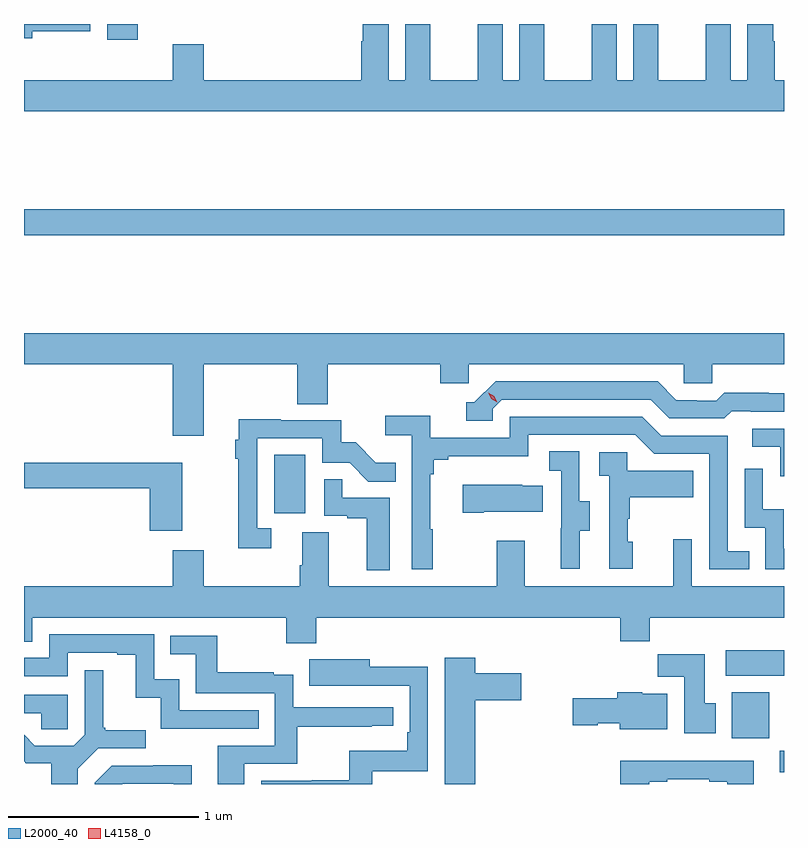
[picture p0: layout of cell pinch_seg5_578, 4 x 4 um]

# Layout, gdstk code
import gdstk
lib = gdstk.Library(unit=1e-6, precision=1e-09)
def R(c, l, rs):  # rectangles x0, y0, x1, y1
    for r in rs: c.add(gdstk.rectangle(r[:2], r[2:], *l))
def P(c, l, *ps):  # polygons
    for p in ps: c.add(gdstk.Polygon(p, *l))
L2000_40 = (2000, 40)
L4158_0 = (4158, 0)

pinch_seg5_578 = lib.new_cell('pinch_seg5_578')
R(pinch_seg5_578, L2000_40, [(1139.231,855.945,1139.253,856.058), (1138.979,856.124,1139.176,856.366), (1138.947,856.454,1139.253,856.588), (1136.57,857.31,1136.734,857.617), (1135.253,858.772,1139.253,858.908), (1135.691,859.8,1135.852,859.884)])
P(pinch_seg5_578, L2000_40, [(1139.253,859.588),(1139.204,859.588),(1139.204,859.793),(1139.197,859.793),(1139.197,859.884),(1139.06,859.884),(1139.06,859.588),(1138.972,859.588),(1138.972,859.884),(1138.841,859.884),(1138.841,859.588),(1138.591,859.588),(1138.591,859.884),(1138.46,859.884),(1138.46,859.588),(1138.372,859.588),(1138.372,859.884),(1138.241,859.884),(1138.241,859.588),(1137.991,859.588),(1137.991,859.884),(1137.86,859.884),(1137.86,859.588),(1137.772,859.588),(1137.772,859.884),(1137.641,859.884),(1137.641,859.588),(1137.391,859.588),(1137.391,859.884),(1137.26,859.884),(1137.26,859.588),(1137.172,859.588),(1137.172,859.884),(1137.035,859.884),(1137.035,859.793),(1137.029,859.793),(1137.029,859.588),(1136.2,859.588),(1136.2,859.777),(1136.036,859.777),(1136.036,859.588),(1135.253,859.588),(1135.253,859.424),(1139.253,859.424)],
  [(1135.297,859.846),(1135.602,859.846),(1135.602,859.884),(1135.253,859.884),(1135.253,859.808),(1135.297,859.808)],
  [(1136.2,858.092),(1136.692,858.092),(1136.692,857.884),(1136.852,857.884),(1136.852,858.092),(1137.443,858.092),(1137.443,857.994),(1137.594,857.994),(1137.594,858.092),(1138.725,858.092),(1138.725,857.994),(1138.875,857.994),(1138.875,858.092),(1139.253,858.092),(1139.253,858.256),(1135.253,858.256),(1135.253,858.092),(1136.036,858.092),(1136.036,857.718),(1136.2,857.718)],
  [(1137.72,857.859),(1137.768,857.907),(1138.551,857.907),(1138.65,857.808),(1138.939,857.808),(1138.978,857.847),(1139.077,857.847),(1139.077,857.844),(1139.253,857.844),(1139.253,857.941),(1139.172,857.941),(1139.172,857.944),(1138.939,857.944),(1138.897,857.901),(1138.794,857.901),(1138.794,857.904),(1138.687,857.904),(1138.588,858.003),(1137.735,858.003),(1137.624,857.892),(1137.581,857.892),(1137.581,857.796),(1137.72,857.796)],
  [(1137.403,857.225),(1137.391,857.225),(1137.391,857.513),(1137.41,857.513),(1137.41,857.59),(1137.487,857.59),(1137.487,857.609),(1137.906,857.609),(1137.906,857.721),(1138.47,857.721),(1138.569,857.622),(1138.86,857.622),(1138.86,857.013),(1139.069,857.013),(1139.069,857.109),(1138.956,857.109),(1138.956,857.718),(1138.606,857.718),(1138.507,857.817),(1137.81,857.817),(1137.81,857.706),(1137.392,857.706),(1137.392,857.822),(1137.153,857.822),(1137.153,857.72),(1137.294,857.72),(1137.294,857.013),(1137.403,857.013)],
  [(1136.554,857.229),(1136.481,857.229),(1136.481,857.703),(1136.823,857.703),(1136.823,857.574),(1136.968,857.574),(1137.066,857.476),(1137.209,857.476),(1137.209,857.575),(1137.105,857.575),(1136.998,857.682),(1136.922,857.682),(1136.922,857.799),(1136.603,857.799),(1136.603,857.804),(1136.384,857.804),(1136.384,857.696),(1136.365,857.696),(1136.365,857.596),(1136.38,857.596),(1136.38,857.124),(1136.554,857.124)],
  [(1139.253,857.754),(1139.085,857.754),(1139.085,857.658),(1139.232,857.658),(1139.232,857.505),(1139.253,857.505)],
  [(1138.177,857.218),(1138.231,857.218),(1138.231,857.373),(1138.176,857.373),(1138.176,857.636),(1138.017,857.636),(1138.017,857.533),(1138.08,857.533),(1138.08,857.229),(1138.079,857.229),(1138.079,857.016),(1138.177,857.016)],
  [(1138.456,857.16),(1138.431,857.16),(1138.431,857.279),(1138.441,857.279),(1138.441,857.393),(1138.775,857.393),(1138.775,857.533),(1138.428,857.533),(1138.428,857.631),(1138.281,857.631),(1138.281,857.507),(1138.332,857.507),(1138.332,857.016),(1138.456,857.016)],
  [(1136.086,857.576),(1135.253,857.576),(1135.253,857.44),(1135.916,857.44),(1135.916,857.217),(1136.086,857.217)],
  [(1139.253,857.122),(1139.252,857.122),(1139.252,857.33),(1139.142,857.33),(1139.142,857.542),(1139.046,857.542),(1139.046,857.232),(1139.154,857.232),(1139.154,857.013),(1139.253,857.013)],
  [(1137.178,857.391),(1136.927,857.391),(1136.927,857.489),(1136.832,857.489),(1136.832,857.295),(1136.953,857.295),(1136.953,857.283),(1137.056,857.283),(1137.056,857.009),(1137.178,857.009)],
  [(1137.673,857.318),(1137.983,857.318),(1137.983,857.455),(1137.875,857.455),(1137.875,857.458),(1137.561,857.458),(1137.561,857.311),(1137.673,857.311)],
  [(1136.792,856.76),(1138.391,856.76),(1138.391,856.636),(1138.547,856.636),(1138.547,856.76),(1139.253,856.76),(1139.253,856.924),(1138.767,856.924),(1138.767,857.173),(1138.67,857.173),(1138.67,856.924),(1137.889,856.924),(1137.889,857.164),(1137.742,857.164),(1137.742,856.924),(1136.857,856.924),(1136.857,857.21),(1136.717,857.21),(1136.717,857.036),(1136.705,857.036),(1136.705,856.924),(1136.2,856.924),(1136.2,857.113),(1136.036,857.113),(1136.036,856.924),(1135.253,856.924),(1135.253,856.633),(1135.296,856.633),(1135.296,856.76),(1136.632,856.76),(1136.632,856.625),(1136.792,856.625)],
  [(1136.489,856.272),(1136.07,856.272),(1136.07,856.435),(1135.938,856.435),(1135.938,856.671),(1135.386,856.671),(1135.386,856.548),(1135.253,856.548),(1135.253,856.452),(1135.482,856.452),(1135.482,856.575),(1135.745,856.575),(1135.745,856.563),(1135.841,856.563),(1135.841,856.337),(1135.974,856.337),(1135.974,856.176),(1136.489,856.176)],
  [(1136.413,855.99),(1136.69,855.99),(1136.69,856.186),(1137.083,856.186),(1137.083,856.191),(1137.196,856.191),(1137.196,856.287),(1136.67,856.287),(1136.67,856.459),(1136.567,856.459),(1136.567,856.471),(1136.269,856.471),(1136.269,856.665),(1136.023,856.665),(1136.023,856.568),(1136.158,856.568),(1136.158,856.362),(1136.574,856.362),(1136.574,856.086),(1136.273,856.086),(1136.273,855.884),(1136.413,855.884)],
  [(1138.894,856.308),(1138.837,856.308),(1138.837,856.567),(1138.588,856.567),(1138.588,856.448),(1138.727,856.448),(1138.727,856.152),(1138.894,856.152)],
  [(1137.628,856.325),(1137.871,856.325),(1137.871,856.467),(1137.628,856.467),(1137.628,856.549),(1137.467,856.549),(1137.467,855.884),(1137.628,855.884)],
  [(1137.085,855.951),(1137.378,855.951),(1137.378,856.502),(1137.073,856.502),(1137.073,856.54),(1136.755,856.54),(1136.755,856.4),(1136.969,856.4),(1136.969,856.401),(1137.282,856.401),(1137.282,856.156),(1137.269,856.156),(1137.269,856.06),(1136.964,856.06),(1136.964,855.905),(1136.767,855.905),(1136.767,855.9),(1136.502,855.9),(1136.502,855.884),(1137.085,855.884)],
  [(1135.537,855.964),(1135.644,856.071),(1135.894,856.071),(1135.894,856.168),(1135.681,856.168),(1135.681,856.18),(1135.669,856.18),(1135.669,856.483),(1135.572,856.483),(1135.572,856.143),(1135.515,856.086),(1135.309,856.086),(1135.253,856.142),(1135.253,856.003),(1135.262,855.994),(1135.397,855.994),(1135.397,855.884),(1135.537,855.884)],
  [(1138.639,856.36),(1138.506,856.36),(1138.506,856.366),(1138.376,856.366),(1138.376,856.335),(1138.14,856.335),(1138.14,856.193),(1138.272,856.193),(1138.272,856.205),(1138.388,856.205),(1138.388,856.172),(1138.639,856.172)],
  [(1135.482,856.353),(1135.253,856.353),(1135.253,856.257),(1135.345,856.257),(1135.345,856.173),(1135.482,856.173)],
  [(1138.543,855.897),(1138.639,855.897),(1138.639,855.909),(1138.859,855.909),(1138.859,855.897),(1138.955,855.897),(1138.955,855.884),(1139.095,855.884),(1139.095,856.006),(1138.391,856.006),(1138.391,855.884),(1138.543,855.884)],
  [(1135.77,855.885),(1136.04,855.885),(1136.04,855.884),(1136.137,855.884),(1136.137,855.983),(1135.932,855.983),(1135.932,855.981),(1135.716,855.981),(1135.626,855.891),(1135.626,855.884),(1135.769,855.884)])
P(pinch_seg5_578, L4158_0, [(1137.743,857.892),(1137.712,857.912),(1137.696,857.944),(1137.696,857.944),(1137.696,857.944),(1137.727,857.925),(1137.743,857.893),(1137.743,857.892)])

lib.write_gds('pinch_seg5_578.gds')
